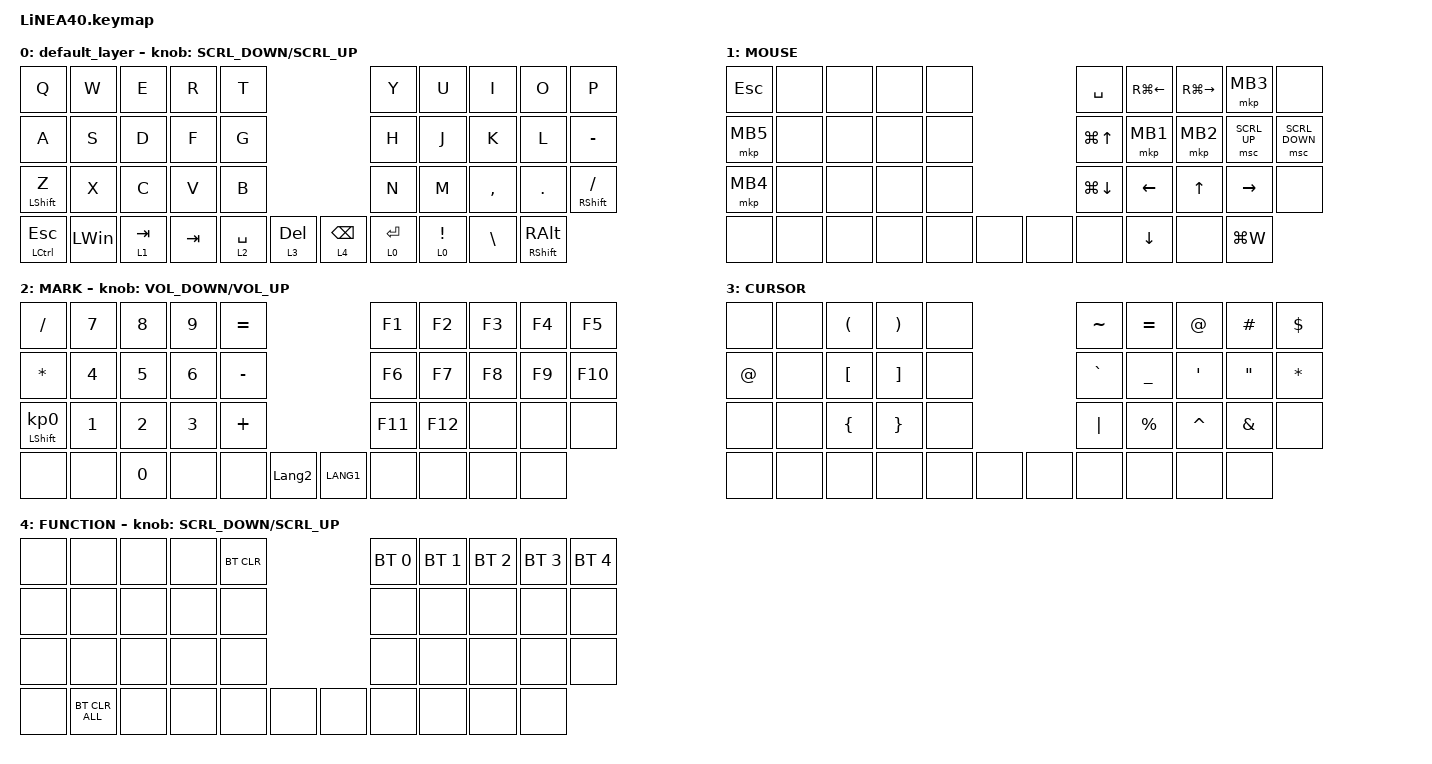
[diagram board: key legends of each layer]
#define ZMK_POINTING_DEFAULT_SCRL_VAL 150

#include <dt-bindings/zmk/input_transform.h>
#include <input/processors.dtsi>
#include <zephyr/dt-bindings/input/input-event-codes.h>
#include <behaviors.dtsi>
#include <dt-bindings/zmk/bt.h>
#include <dt-bindings/zmk/keys.h>
#include <dt-bindings/zmk/pointing.h>

#define MOUSE 1
#define MARK 2
#define CURSOR 3
#define FUNCTION 4
#define SCROLL 5
#define WIRELESS 6

//mouse cursol

&mmv {
    delay-ms = <20>;
    trigger-period-ms = <5>;
    time-to-max-speed-ms = <100>;
    acceleration-exponent = <2>;
};

//mouse scroll

&msc {
    delay-ms = <3>;
    trigger-period-ms = <3>;
    time-to-max-speed-ms = <100>;
    acceleration-exponent = <0>;
};

/ {
    input_processors {
        zip_wheel_scaler: zip_wheel_scaler {
            compatible = "zmk,input-processor-scaler";
            #input-processor-cells = <2>;
            type = <INPUT_EV_REL>;
            codes = <INPUT_REL_WHEEL>;
            track-remainders;
        };
    };
};

&msc_input_listener {
    speed_up {
        layers = <FUNCTION>;
        input-processors = <&zip_wheel_scaler 3 1>; //スクロールを3倍速にする
    };
};

&trackball_listener {
    scroller {
        layers = <SCROLL>;
        input-processors =
            <&zip_xy_transform INPUT_TRANSFORM_Y_INVERT>,
            //スクロール方向を逆転,,,,,,,,
            <&zip_xy_to_scroll_mapper>;
    };
};

/ {
    combos {
        compatible = "zmk,combos";

        ZenkakuHankaku {
            bindings = <&kp GRAVE>;
            key-positions = <11 12>;
        };

        DeleteKey {
            bindings = <&kp DEL>;
            key-positions = <7 8>;
        };

        InsertKey {
            bindings = <&kp INS>;
            key-positions = <6 7>;
        };

        CenterClick {
            bindings = <&mkp MB3>;
            key-positions = <17 16>;
        };

        RightClick {
            bindings = <&mkp MB2>;
            key-positions = <18 17>;
        };

        PrevClick {
            bindings = <&mkp MB4>;
            key-positions = <27 28>;
        };

        ClickNext {
            bindings = <&mkp MB5>;
            key-positions = <26 27>;
        };
    };

    behaviors {
        re_kp: sensor_rotate_kp {
            compatible = "zmk,behavior-sensor-rotate-var";
            #sensor-binding-cells = <2>;
            bindings = <&kp>, <&kp>;
        };

        mouse_scrl: mouse_wheel_scrl {
            compatible = "zmk,behavior-sensor-rotate-var";
            #sensor-binding-cells = <2>;
            bindings = <&msc>, <&msc>;

            tap-ms = <20>;
        };
    };

    keymap {
        compatible = "zmk,keymap";

        default_layer {
            bindings = <
&kp Q             &kp W         &kp E      &kp R    &kp T                                      &kp Y        &kp U  &kp I              &kp O          &kp P
&kp A             &kp S         &kp D      &kp F    &kp G                                      &kp H        &kp J  &kp K              &kp L          &kp MINUS
&mt LEFT_SHIFT Z  &kp X         &kp C      &kp V    &kp B                                      &kp N        &kp M  &kp COMMA          &kp DOT        &mt RIGHT_SHIFT SLASH
&mt LCTRL ESC     &kp LEFT_WIN  &lt 1 TAB  &kp TAB  &lt 2 SPACE  &lt 3 DEL    &lt 4 BACKSPACE  &lt 0 ENTER         &lt 0 EXCLAMATION  &kp BACKSLASH  &mt RIGHT_SHIFT RIGHT_ALT
            >;

            sensor-bindings = <&mouse_scrl SCRL_DOWN SCRL_UP>;
        };

        //1

        MOUSE {
            bindings = <
&kp ESC   &none  &none  &none  &none                  &kp SPACE           &kp RG(LEFT)  &kp RG(RIGHT)  &mkp MB3      &none
&mkp MB5  &none  &none  &none  &none                  &kp LG(UP_ARROW)    &mkp MB1      &mkp MB2       &msc SCRL_UP  &msc SCRL_DOWN
&mkp MB4  &none  &none  &none  &none                  &kp LG(DOWN_ARROW)  &kp LEFT      &kp UP_ARROW   &kp RIGHT     &none
&none     &none  &none  &none  &none  &none    &none  &none                             &kp DOWN       &none         &kp LG(W)
            >;
        };

        //2

        MARK {
            bindings = <
&kp SLASH                   &kp NUMBER_7  &kp NUMBER_8  &kp NUMBER_9  &kp EQUAL                               &kp F1   &kp F2   &kp F3  &kp F4  &kp F5
&kp ASTRK                   &kp NUMBER_4  &kp NUMBER_5  &kp NUMBER_6  &kp MINUS                               &kp F6   &kp F7   &kp F8  &kp F9  &kp F10
&mt LEFT_SHIFT KP_NUMBER_0  &kp NUMBER_1  &kp NUMBER_2  &kp NUMBER_3  &kp PLUS                                &kp F11  &kp F12  &none   &none   &none
&none                       &none         &kp NUMBER_0  &none         &none      &kp LANGUAGE_2    &kp LANG1  &none             &none   &none   &none
            >;

            sensor-bindings = <&re_kp C_VOLUME_DOWN C_VOLUME_UP>;
        };

        //3

        CURSOR {
            bindings = <
&none   &none  &kp LEFT_PARENTHESIS  &kp RIGHT_PARENTHESIS  &none                  &kp TILDE  &kp EQUAL    &kp AT            &kp HASH           &kp DOLLAR
&kp AT  &none  &kp LEFT_BRACKET      &kp RIGHT_BRACKET      &none                  &kp GRAVE  &kp UNDER    &kp SINGLE_QUOTE  &kp DOUBLE_QUOTES  &kp ASTRK
&none   &none  &kp LEFT_BRACE        &kp RIGHT_BRACE        &none                  &kp PIPE   &kp PERCENT  &kp CARET         &kp AMPERSAND      &none
&none   &none  &none                 &none                  &none  &none    &none  &none                   &none             &none              &none
            >;
        };

        //4

        FUNCTION {
            bindings = <
&none  &none           &none  &none  &bt BT_CLR                  &bt BT_SEL 0  &bt BT_SEL 1  &bt BT_SEL 2  &bt BT_SEL 3  &bt BT_SEL 4
&none  &none           &none  &none  &none                       &none         &none         &none         &none         &none
&none  &none           &none  &none  &none                       &none         &none         &none         &none         &none
&none  &bt BT_CLR_ALL  &none  &none  &none       &none    &none  &none                       &none         &none         &none
            >;

            sensor-bindings = <&mouse_scrl SCRL_DOWN SCRL_UP>;
        };

        //5
        //6
    };
};
